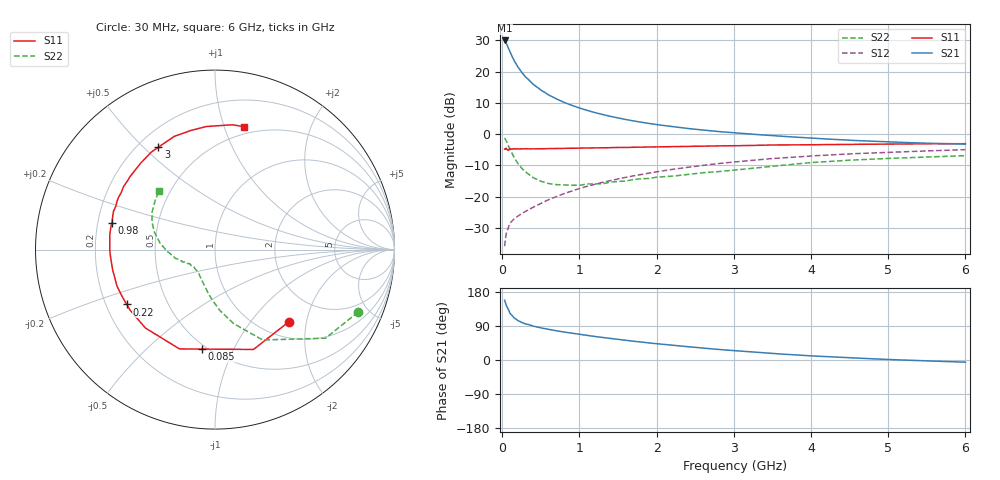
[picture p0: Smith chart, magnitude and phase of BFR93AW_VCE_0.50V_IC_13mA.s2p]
! Infineon Technologies  Discrete & RF Semiconductors
! BFR93AW
! VCE = 0.50 V,  IC =  13 mA
! Common Emitter S-Parameters:  Nov 2015
# GHz  S  MA  R  50
!  f  S11  S21  S12  S22
! GHz  MAG  ANG  MAG  ANG  MAG  ANG  MAG  ANG
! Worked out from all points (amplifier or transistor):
!   206 points, 30 MHz to 6 GHz, reference 50 ohm
!   highest |S21| = 29.9 dB at 30 MHz (marker M1)
!   |S21| within 3 dB of that: start of sweep to 87.44 MHz
!   unconditionally stable (mu >= 1): 556.3 MHz to 3.219 GHz; 5.575 GHz to end of sweep
!   at 200 MHz: K = 0.61, MSG = 23.9 dB, |S12| = -26.2 dB
!   at 1.56 GHz: K = 1.10, MAG = 7.5 dB, |S12| = -14.0 dB
!   at 6 GHz: K = 1.00, MAG = 0.5 dB, |S12| = -5.0 dB
!   S11 on the Smith chart (normalised r, x): 30 MHz: 1.32, -1.59; 85 MHz: 0.47, -0.76; 220 MHz: 0.29, -0.26; 980 MHz: 0.26, +0.12; 3 GHz: 0.28, +0.56; 6 GHz: 0.43, +1.17
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0.03  0.5755 -44.2  31.34 157.9  0.0162 70.9  0.8699 -23.6
0.05  0.5963 -68.9  28.5 143.8  0.0255 63.7  0.7893 -38.7
0.085  0.5591 -97.6  22.54 130.6  0.0339 53.7  0.6228 -53.5
0.1  0.5877 -109.7  20.5 122.9  0.0378 50.8  0.5693 -62.2
0.15  0.5841 -131.6  15.15 111.5  0.0439 47.9  0.4264 -75.7
0.2  0.581 -144.4  11.94 104.3  0.0488 47.4  0.3422 -85.2
0.22  0.5788 -148.1  11.05 102.5  0.0507 47.8  0.3187 -87.8
0.26  0.58 -154.8  9.428 98.5  0.0544 48.9  0.2777 -93.5
0.3  0.5826 -159.6  8.223 95.3  0.0582 50.9  0.25 -98.2
0.4  0.5814 -168.9  6.245 89.4  0.0678 53.5  0.2014 -108.3
0.5  0.5835 -175.5  5.047 84.6  0.0779 56.3  0.1765 -117.2
0.6  0.5865 179.9  4.232 80.8  0.0896 58.3  0.1622 -123.3
0.7  0.5883 175.3  3.659 77.0  0.1002 59.2  0.1558 -129.1
0.98  0.5939 165.5  2.66 68.3  0.1327 60.7  0.1521 -141.5
1.04  0.5963 163.7  2.518 66.6  0.1397 60.7  0.1551 -143.8
1.5  0.6113 151.7  1.806 54.4  0.1923 59.4  0.1751 -154.6
2.02  0.6242 139.1  1.407 42.5  0.2517 55.4  0.2059 -162.6
3  0.6517 118.9  1.05 24.6  0.3583 45.7  0.2652 -177.7
3.1  0.6541 117.0  1.027 23.2  0.3677 44.4  0.273 -179.6
4.1  0.6782 100.0  0.849 9.9  0.4545 32.7  0.3567 162.5
5.1  0.6934 86.6  0.743 0.6  0.5168 21.9  0.4126 147.2
6  0.7035 76.6  0.692 -5.8  0.564 13.1  0.4521 133.5
